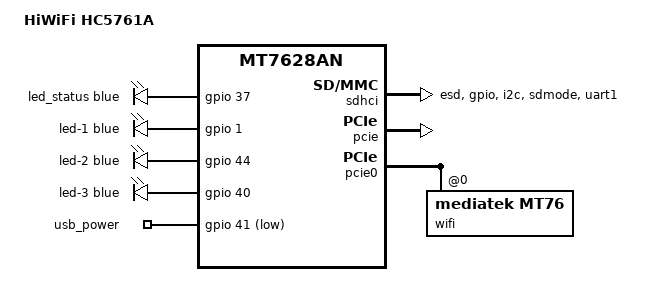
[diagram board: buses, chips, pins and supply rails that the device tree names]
// SPDX-License-Identifier: GPL-2.0-or-later OR MIT

#include "mt7628an_hiwifi_hc5x61a.dtsi"

/ {
	compatible = "hiwifi,hc5761a", "mediatek,mt7628an-soc";
	model = "HiWiFi HC5761A";

	aliases {
		label-mac-device = &ethernet;
		led-boot = &led_status;
		led-failsafe = &led_status;
		led-running = &led_status;
		led-upgrade = &led_status;
	};

	leds {
		compatible = "gpio-leds";

		led_status: led-0 {
			color = <LED_COLOR_ID_BLUE>;
			function = LED_FUNCTION_STATUS;
			gpios = <&gpio 37 GPIO_ACTIVE_HIGH>;
		};

		led-1 {
			color = <LED_COLOR_ID_BLUE>;
			function = LED_FUNCTION_WAN;
			gpios = <&gpio 1 GPIO_ACTIVE_HIGH>;
		};

		led-2 {
			color = <LED_COLOR_ID_BLUE>;
			function = LED_FUNCTION_WLAN_2GHZ;
			gpios = <&gpio 44 GPIO_ACTIVE_HIGH>;
			linux,default-trigger = "phy0tpt";
		};

		led-3 {
			color = <LED_COLOR_ID_BLUE>;
			function = LED_FUNCTION_WLAN_5GHZ;
			gpios = <&gpio 40 GPIO_ACTIVE_HIGH>;
			linux,default-trigger = "phy1tpt";
		};
	};

	gpio_export {
		compatible = "gpio-export";

		usb_power {
			gpio-export,name = "usb_power";
			gpio-export,output = <0>;
			gpios = <&gpio 41 GPIO_ACTIVE_LOW>;
		};
	};
};

&esw {
	mediatek,portmap = <0x2f>;
	mediatek,portdisable = <0x2c>;
};

&pinctrl {
	ephy-analog;

	sdxc_router_mode: sdxc_router_mode {
		groups = "esd", "gpio", "i2c", "sdmode", "uart1";
		function = "gpio";
	};
};

&sdhci {
	status = "okay";

	pinctrl-0 = <&sdxc_router_mode>;
	pinctrl-1 = <&sdxc_router_mode>;
};

&state_default {
	gpio {
		groups = "i2s", "refclk", "wdt", "p2led_an", "p3led_an", "wled_an";
		function = "gpio";
	};
};

&pcie {
	status = "okay";
};

&pcie0 {
	wifi@0,0 {
		compatible = "mediatek,mt76";
		reg = <0x0000 0 0 0 0>;
		nvmem-cells = <&eeprom_factory_8000>, <&macaddr_bdinfo_18a 0>;
		nvmem-cell-names = "eeprom", "mac-address";
		ieee80211-freq-limit = <5000000 6000000>;
	};
};
